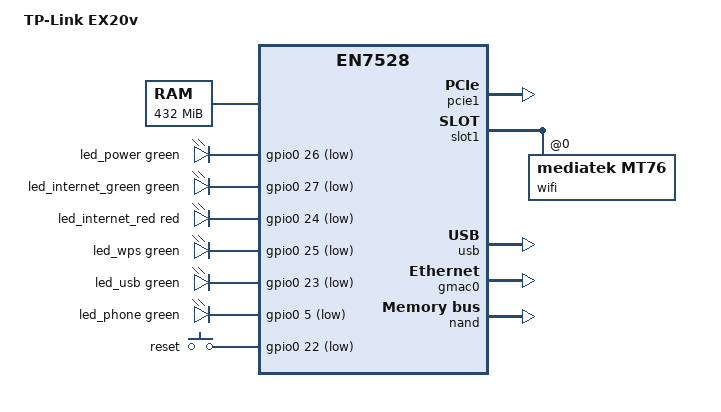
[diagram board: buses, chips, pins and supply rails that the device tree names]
// SPDX-License-Identifier: (GPL-2.0-only OR BSD-2-Clause)
/dts-v1/;

#include "en7528.dtsi"

#include <dt-bindings/gpio/gpio.h>
#include <dt-bindings/input/input.h>
#include <dt-bindings/leds/common.h>

/ {
	model = "TP-Link EX20v";
	compatible = "tplink,ex20v", "econet,en7528";

	aliases {
		serial0 = &uart;
		led-boot = &led_power;
		led-failsafe = &led_power;
		led-running = &led_power;
		led-upgrade = &led_power;
	};

	memory@0 {
		device_type = "memory";
		/*
		 * The board has 512 MB DRAM, but the low-memory window only
		 * exposes 432 MB (0x1b000000) before the SoC I/O registers at
		 * 0x1f600000+. Declaring more overlaps the MMIO and makes every
		 * driver fail with -EBUSY. Matches the stock kernel's
		 * "memory: 1affe000 @ 00002000".
		 */
		reg = <0x00000000 0x1b000000>;
	};

	chosen {
		stdout-path = "serial0:115200n8";
		/* Low 0x20000 is reserved for the bootloader/exception vectors. */
		/*
		 * Top 256 KB of the usable window (0x1afc0000-0x1b000000) is carved
		 * out for the ramoops crash buffer below, so the kernel range ends at
		 * 0x1afc0000 (was 0x1afe0000 size). The EcoNet bootbase preserves this
		 * DRAM across a warm/watchdog reboot (verified on C5v), so an oops that
		 * panic_on_oops turns into a silent 1s reboot still leaves a backtrace.
		 */
		linux,usable-memory-range = <0x00020000 0x1afa0000>;
		/* squashfs rootfs + ubifs overlay live on the "ubi" MTD. */
		bootargs = "ubi.mtd=ubi";
	};

	reserved-memory {
		#address-cells = <1>;
		#size-cells = <1>;
		ranges;

		/* Crash log buffer (pstore/ramoops), top of the DRAM window. */
		ramoops@1afc0000 {
			compatible = "ramoops";
			reg = <0x1afc0000 0x40000>;	/* 256 KB */
			record-size = <0x8000>;		/* 32 KB per oops/panic dump */
			console-size = <0x18000>;	/* 96 KB console ring */
			pmsg-size = <0x8000>;		/* 32 KB userspace pmsg */
			max-reason = <5>;		/* KMSG_DUMP_OOPS: catch oops + panic */
		};
	};

	leds {
		compatible = "gpio-leds";

		/*
		 * GPIO haritası gpio-probe.sh ile cihazda doğrulandı (2026-08-05).
		 * Tümü ACTIVE_LOW varsayıldı (TP-Link konvansiyonu; power pini resting
		 * val=0 iken cihaz açıkken LED yanıyor => ACTIVE_LOW teyitli). Flash
		 * sonrası ters yanan olursa ilgili pini GPIO_ACTIVE_HIGH'a çevir.
		 * Wi-Fi 2.4G/5G LED'leri burada YOK — onları mt76 wifi çipi sürüyor.
		 * Buton (reset/wps) haritası ayrı çıkarılacak ('gpio-probe.sh watch').
		 */
		led_power: power {
			color = <LED_COLOR_ID_GREEN>;
			function = LED_FUNCTION_POWER;
			gpios = <&gpio0 26 GPIO_ACTIVE_LOW>;
		};

		/*
		 * Internet LED çift renkli tek fiziksel LED: internet VAR=YEŞİL,
		 * YOK=KIRMIZI. Geçişi userspace sürer (led-status daemon; online
		 * LED rengini otomatik bulur, EX20v'de green:wan-online).
		 */
		led_internet_green: internet-green {
			color = <LED_COLOR_ID_GREEN>;
			function = LED_FUNCTION_WAN_ONLINE;
			gpios = <&gpio0 27 GPIO_ACTIVE_LOW>;
		};

		led_internet_red: internet-red {
			color = <LED_COLOR_ID_RED>;
			function = LED_FUNCTION_WAN;
			gpios = <&gpio0 24 GPIO_ACTIVE_LOW>;
		};

		led_wps: wps {
			color = <LED_COLOR_ID_GREEN>;
			function = LED_FUNCTION_WPS;
			gpios = <&gpio0 25 GPIO_ACTIVE_LOW>;
		};

		led_usb: usb {
			color = <LED_COLOR_ID_GREEN>;
			function = LED_FUNCTION_USB;
			gpios = <&gpio0 23 GPIO_ACTIVE_LOW>;
			/* usbport trigger'ı flash sonrası uci ile eklenebilir */
		};

		led_phone: phone {
			color = <LED_COLOR_ID_GREEN>;
			function = "phone";
			gpios = <&gpio0 5 GPIO_ACTIVE_LOW>;
		};
	};

	keys {
		compatible = "gpio-keys-polled";
		poll-interval = <20>;

		/*
		 * Buton GPIO + polaritesi cihazda DOĞRULANDI (2026-08-05,
		 * button-probe-ex20v.sh): reset = gpio0 22, ACTIVE_LOW (boşta
		 * HIGH=1, basınca 0). EcoNet GPIO'larında IRQ yok -> polled.
		 * WPS/WiFi butonu (varsa) henüz taranmadı; bulununca buraya eklenir.
		 */
		key-reset {
			label = "reset";
			gpios = <&gpio0 22 GPIO_ACTIVE_LOW>;
			linux,code = <KEY_RESTART>;
		};
	};
};

/*
 * The Wi-Fi is a single MT7915 DBDC chip (0x7915 on pcie1) that serves BOTH
 * the 2.4 GHz and 5 GHz bands by itself (phy0 + phy1). The 0x7916 endpoint on
 * pcie0 is that chip's HIF2 -- a second PCIe path that only offloads band DMA
 * for extra throughput, not a separate radio/band. mt7915e unconditionally
 * pairs any 0x7916 as a cross-device HIF2 and hangs doing so across these two
 * independent PCIe root complexes, so pcie0 is left disabled. Both bands work
 * fully without it; enabling it would need driver work for the cross-RC HIF2.
 */
&pcie0 {
	status = "disabled";
};

&pcie1 {
	status = "okay";
};

&slot1 {
	status = "okay";

	wifi@0,0 {
		compatible = "mediatek,mt76";
		reg = <0x0000 0 0 0 0>;
		/*
		 * MT7915 DBDC: EEPROM/cal from the flash "radio" partition, MAC
		 * from the romfile base. Exposes phy0 (2.4 GHz) and phy1 (5 GHz).
		 */
		nvmem-cells = <&eeprom_radio>, <&macaddr_romfile 1>;
		nvmem-cell-names = "eeprom", "mac-address";
	};
};

&usb {
	status = "okay";

	/*
	 * The EX20v exposes a single USB 2.0 port. The EN7528 xHCI IP is
	 * SuperSpeed-capable in silicon (2x U2 + 1x U3 root ports), but the
	 * board wires no USB 3.0 connector, so mask the phantom U3 port: it
	 * stays powered down instead of advertising a dead SuperSpeed link
	 * (no U3 LTSSM link training on unconnected pins, small power saving).
	 * The U2 ports are left untouched so the real USB2 port keeps working
	 * (the second, unwired U2 port is harmless -- it just stays empty).
	 */
	mediatek,u3p-dis-msk = <0x1>;
};

&gmac0 {
	status = "okay";
	/* TODO(hardware): verify the MAC base offset inside "romfile". */
	nvmem-cells = <&macaddr_romfile 0>;
	nvmem-cell-names = "mac-address";
};

&nand {
	status = "okay";
	econet,bmt;
	econet,bbt-table-size = <163>;	/* "bmt pool size: 163" from stock bootlog */

	partitions: partitions {
		compatible = "fixed-partitions";
		#address-cells = <1>;
		#size-cells = <1>;

		/*
		 * The free bootbase has TWO hardcoded kernel-tag slots and picks one
		 * from an external "boot flag" (verified on hardware from the stock
		 * bootlog: "boot flag = 1  g_kernel_tag_start = 0x2980000"): flag 0 ->
		 * master 0x380000, flag 1 -> slave 0x2980000. The flag lives outside the
		 * tag (the stock master/slave tags are byte-identical in every
		 * version/priority field) and is stable -- it never flipped across
		 * repeated failed boots and nothing in OpenWrt writes it. This board
		 * ships and stays on flag 1, so the "kernel" partition IS the slave slot
		 * at 0x2980000, and UBI starts immediately after it at 0x2f80000. That
		 * keeps the slot the bootbase actually reads exactly where sysupgrade
		 * (CI_KERNPART=kernel) writes it, and keeps the UBI partition clear of
		 * the kernel slot so wear-leveling can never scribble over the running
		 * kernel (the earlier "kernel@0x380000 + ubi@0x980000" layout booted by
		 * luck but let UBI overlap the live slave kernel).
		 *
		 * The stock master slot (0x380000-0x2980000, 38 MB) is left
		 * unpartitioned; the flag never selects it. UBI has no econet,enable-remap
		 * so it does its own bad-block management; econet,bmt only applies the
		 * existing factory bad-block map. Top 64 MB (0x1c000000+) is the BMT pool.
		 *
		 *   0x000000  -0x040000    boot     (256 KB, ro)
		 *   0x040000  -0x140000    romfile  (1 MB, ro)   base MAC @0x2000
		 *   0x140000  -0x340000    config   (2 MB)
		 *   0x340000  -0x380000    radio    (256 KB, ro) Wi-Fi EEPROM @0x0
		 *   0x380000  -0x2980000   (unpartitioned, stock master slot, unused)
		 *   0x2980000 -0x2f80000   kernel   (6 MB, slave slot, raw tag + LZMA)
		 *   0x2f80000 -0x1c000000  ubi      (~402 MB)
		 *   0x1c000000-0x20000000  (unpartitioned, BMT pool)
		 */
		partition@0 {
			label = "boot";
			reg = <0x0 0x40000>;
			read-only;
		};

		partition@40000 {
			label = "romfile";
			reg = <0x40000 0x100000>;
			read-only;

			nvmem-layout {
				compatible = "fixed-layout";
				#address-cells = <1>;
				#size-cells = <1>;

				/*
				 * Base MAC 98:25:4A:19:FE:56, binary, confirmed in the
				 * stock romfile dump. eth0 = base+0, label = base+2.
				 */
				macaddr_romfile: macaddr@2000 {
					compatible = "mac-base";
					reg = <0x2000 0x6>;
					#nvmem-cell-cells = <1>;
				};
			};
		};

		partition@140000 {
			label = "config";
			reg = <0x140000 0x200000>;
		};

		radio: partition@340000 {
			label = "radio";
			reg = <0x340000 0x40000>;
			read-only;

			nvmem-layout {
				compatible = "fixed-layout";
				#address-cells = <1>;
				#size-cells = <1>;

				/*
				 * MT7915 DBDC EEPROM: chip id 0x7915 at offset 0,
				 * 0xe00 (3584) bytes, matching mt7915_eeprom_dbdc.bin.
				 * Efuse is blank on this board, so cal reads from here.
				 */
				eeprom_radio: eeprom@0 {
					reg = <0x0 0xe00>;
				};
			};
		};

		/* Active boot slot (slave, flag=1): raw 55aa tag + LZMA, read by the bootbase. */
		partition@2980000 {
			label = "kernel";
			reg = <0x2980000 0x600000>;
			econet,enable-remap;
		};

		/* squashfs rootfs + ubifs overlay, immediately after the kernel slot. */
		partition@2f80000 {
			label = "ubi";
			reg = <0x2f80000 0x19080000>;
		};
	};
};
